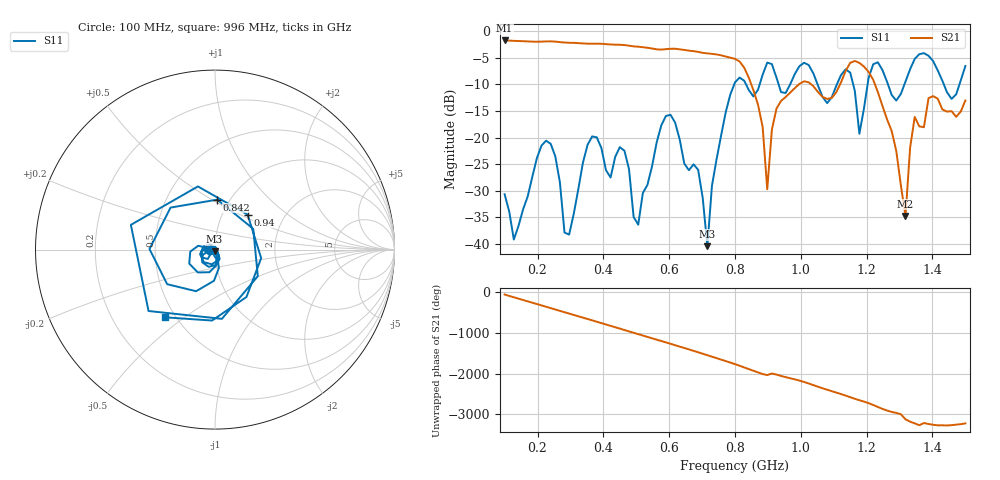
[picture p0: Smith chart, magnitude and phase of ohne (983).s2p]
! NanoVNA-App
! Date: 2025-09-25 14:28:27
! Start: 100MHz Stop: 1,5GHz Points: 101
! S-Parameter data: F S11 S21 S12 S22
# Hz S RI R 50
!  Frequency  S11_Real  S11_Imag  S21_Real  S21_Imag  S12_Real  S12_Imag  S22_Real  S22_Imag
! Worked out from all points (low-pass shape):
!   101 points, 100 MHz to 1.5 GHz, reference 50 ohm
!   highest |S21| = -1.79 dB at 100 MHz (marker M1); lowest = -34.7 dB at 1.318 GHz (marker M2)
!   |S21| within 3 dB of the highest: start of sweep to 771 MHz
!   lowest |S11| = -40.4 dB at 716 MHz (marker M3), VSWR 1.02, Z = 49.7 - j0.914 ohm
!   |S11| at or under -10 dB: start of sweep to 797.9 MHz; 833.2 MHz to 875.2 MHz (41.96 MHz wide, 4.91 % of centre); 1.051 GHz to 1.11 GHz (59.19 MHz wide, 5.48 % of centre) (the widest 3 of 7)
!   S12 and S22 are empty: the file has one direction only
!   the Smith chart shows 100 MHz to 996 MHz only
!   S11 on the Smith chart (normalised r, x): 100 MHz: 0.94, -0.01; 842 MHz: 0.88, +0.53; 940 MHz: 1.31, +0.55; 996 MHz: 0.44, -0.43
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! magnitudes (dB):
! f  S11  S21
! 100 MHz  -30.6  -1.8
! 128 MHz  -39.1  -1.9
! 226 MHz  -20.6  -2.0
! 296 MHz  -38.2  -2.2
! 338 MHz  -24.7  -2.3
! 464 MHz  -22.5  -2.7
! 506 MHz  -36.3  -3.0
! 576 MHz  -17.7  -3.5
! 688 MHz  -26.1  -3.9
! 716 MHz  -40.4  -4.2
! 800 MHz  -9.7  -5.2
! 842 MHz  -11.1  -8.8
! 898 MHz  -5.9  -29.7
! 940 MHz  -11.5  -13.1
! 996 MHz  -6.6  -9.9
! 1.038 GHz  -8.0  -10.4
! 1.178 GHz  -19.3  -6.0
! 1.22 GHz  -6.3  -9.2
! 1.276 GHz  -12.0  -18.8
! 1.318 GHz  -9.5  -34.7
! 1.346 GHz  -5.3  -16.2
! 1.5 GHz  -6.6  -13.1
